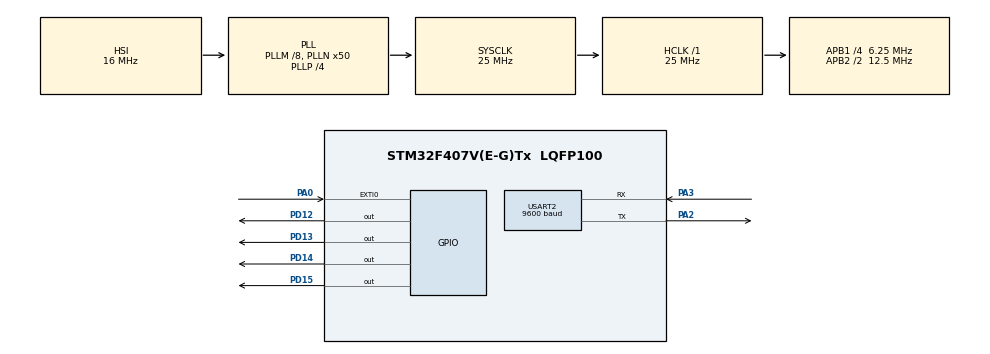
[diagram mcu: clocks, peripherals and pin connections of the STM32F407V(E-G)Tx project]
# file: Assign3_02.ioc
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Mcu.Family=STM32F4
Mcu.Name=STM32F407V(E-G)Tx
Mcu.Package=LQFP100
NVIC.EXTI0_IRQn=true\:0\:0\:false\:false\:true\:true\:true\:true
NVIC.PriorityGroup=NVIC_PRIORITYGROUP_0
PA0-WKUP.Signal=GPXTI0
PA2.Mode=Asynchronous
PA2.Signal=USART2_TX
PA3.Mode=Asynchronous
PA3.Signal=USART2_RX
PD12.Signal=GPIO_Output
PD13.Signal=GPIO_Output
PD14.Signal=GPIO_Output
PD15.Signal=GPIO_Output
ProjectManager.HeapSize=0x200
ProjectManager.StackSize=0x400
ProjectManager.TargetToolchain=STM32CubeIDE
RCC.48MHZClocksFreq_Value=14285714.285714285
RCC.AHBFreq_Value=25000000
RCC.APB1CLKDivider=RCC_HCLK_DIV4
RCC.APB1Freq_Value=6250000
RCC.APB1TimFreq_Value=12500000
RCC.APB2CLKDivider=RCC_HCLK_DIV2
RCC.APB2Freq_Value=12500000
RCC.APB2TimFreq_Value=25000000
RCC.CortexFreq_Value=25000000
RCC.HCLKFreq_Value=25000000
RCC.HSE_VALUE=8000000
RCC.HSI_VALUE=16000000
RCC.LSE_VALUE=32768
RCC.PLLM=8
RCC.PLLN=50
RCC.PLLP=RCC_PLLP_DIV4
RCC.PLLQ=7
RCC.SYSCLKFreq_VALUE=25000000
RCC.SYSCLKSource=RCC_SYSCLKSOURCE_PLLCLK
RCC.VCOOutputFreq_Value=100000000
USART2.BaudRate=9600
USART2.VirtualMode=VM_ASYNC
board=STM32F407G-DISC1

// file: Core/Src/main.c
/* USER CODE BEGIN Header */
/**
  ******************************************************************************
  * @file           : main.c
  * @brief          : Main program body
  ******************************************************************************
  * @attention
  *
  * Copyright (c) 2026 STMicroelectronics.
  * All rights reserved.
  *
  * This software is licensed under terms that can be found in the LICENSE file
  * in the root directory of this software component.
  * If no LICENSE file comes with this software, it is provided AS-IS.
  *
  ******************************************************************************
  */
/* USER CODE END Header */
#include "main.h"

UART_HandleTypeDef huart2;
uint8_t volatile button_pressed =0;
uint8_t led =0;
/* USER CODE BEGIN PV */

void HAL_GPIO_EXTI_Callback(uint16_t GPIO_Pin)
{

        button_pressed = 1;

}
/* USER CODE END PV */

void SystemClock_Config(void);
static void MX_GPIO_Init(void);
static void MX_USART2_UART_Init(void);

int main(void)
{

  /* MCU Configuration--------------------------------------------------------*/

  /* Reset of all peripherals, Initializes the Flash interface and the Systick. */
  HAL_Init();

  /* Configure the system clock */
  SystemClock_Config();

  /* Initialize all configured peripherals */
  MX_GPIO_Init();
  MX_USART2_UART_Init();

  /* Infinite loop */
  /* USER CODE BEGIN WHILE */
  while (1)
  {

	      if(button_pressed)
	      {
	          button_pressed = 0;

	         led++;

	          if(led > 3)
	              led = 0;
	      }

	      HAL_GPIO_WritePin(GPIOD,
	                        GPIO_PIN_12 | GPIO_PIN_13 | GPIO_PIN_14 | GPIO_PIN_15,
	                        GPIO_PIN_RESET);
	      if(led == 0)
	      {
	      HAL_GPIO_WritePin(GPIOD,GPIO_PIN_12,GPIO_PIN_SET);
	      HAL_Delay(500);

	      HAL_GPIO_WritePin(GPIOD, GPIO_PIN_12,GPIO_PIN_RESET);
	      HAL_Delay(500);
	      }
	      else if(led == 1)
	      {   HAL_GPIO_WritePin(GPIOD,GPIO_PIN_13,GPIO_PIN_SET);
	      HAL_Delay(500);

	      HAL_GPIO_WritePin(GPIOD, GPIO_PIN_13,GPIO_PIN_RESET);
	      HAL_Delay(500);

	      }
	      else if(led == 2)
	      {   HAL_GPIO_WritePin(GPIOD,GPIO_PIN_14,GPIO_PIN_SET);
	     HAL_Delay(500);

	 	 HAL_GPIO_WritePin(GPIOD, GPIO_PIN_14,GPIO_PIN_RESET);
	     HAL_Delay(500);

	    	      }
	      else if(led == 3)
	     {	HAL_GPIO_WritePin(GPIOD,GPIO_PIN_15,GPIO_PIN_SET);
	     HAL_Delay(500);

	     HAL_GPIO_WritePin(GPIOD, GPIO_PIN_15,GPIO_PIN_RESET);
	     HAL_Delay(500);

	    	      }

    /* USER CODE END WHILE */

  }
}

void SystemClock_Config(void)
{
  RCC_OscInitTypeDef RCC_OscInitStruct = {0};
  RCC_ClkInitTypeDef RCC_ClkInitStruct = {0};

  /** Configure the main internal regulator output voltage
  */
  __HAL_RCC_PWR_CLK_ENABLE();
  __HAL_PWR_VOLTAGESCALING_CONFIG(PWR_REGULATOR_VOLTAGE_SCALE1);

  /** Initializes the RCC Oscillators according to the specified parameters
  * in the RCC_OscInitTypeDef structure.
  */
  RCC_OscInitStruct.OscillatorType = RCC_OSCILLATORTYPE_HSI;
  RCC_OscInitStruct.HSIState = RCC_HSI_ON;
  RCC_OscInitStruct.HSICalibrationValue = RCC_HSICALIBRATION_DEFAULT;
  RCC_OscInitStruct.PLL.PLLState = RCC_PLL_ON;
  RCC_OscInitStruct.PLL.PLLSource = RCC_PLLSOURCE_HSI;
  RCC_OscInitStruct.PLL.PLLM = 8;
  RCC_OscInitStruct.PLL.PLLN = 50;
  RCC_OscInitStruct.PLL.PLLP = RCC_PLLP_DIV4;
  RCC_OscInitStruct.PLL.PLLQ = 7;
  if (HAL_RCC_OscConfig(&RCC_OscInitStruct) != HAL_OK)
  {
    Error_Handler();
  }

  /** Initializes the CPU, AHB and APB buses clocks
  */
  RCC_ClkInitStruct.ClockType = RCC_CLOCKTYPE_HCLK|RCC_CLOCKTYPE_SYSCLK
                              |RCC_CLOCKTYPE_PCLK1|RCC_CLOCKTYPE_PCLK2;
  RCC_ClkInitStruct.SYSCLKSource = RCC_SYSCLKSOURCE_PLLCLK;
  RCC_ClkInitStruct.AHBCLKDivider = RCC_SYSCLK_DIV1;
  RCC_ClkInitStruct.APB1CLKDivider = RCC_HCLK_DIV4;
  RCC_ClkInitStruct.APB2CLKDivider = RCC_HCLK_DIV2;

  if (HAL_RCC_ClockConfig(&RCC_ClkInitStruct, FLASH_LATENCY_0) != HAL_OK)
  {
    Error_Handler();
  }
}

static void MX_USART2_UART_Init(void)
{

  huart2.Instance = USART2;
  huart2.Init.BaudRate = 9600;
  huart2.Init.WordLength = UART_WORDLENGTH_8B;
  huart2.Init.StopBits = UART_STOPBITS_1;
  huart2.Init.Parity = UART_PARITY_NONE;
  huart2.Init.Mode = UART_MODE_TX_RX;
  huart2.Init.HwFlowCtl = UART_HWCONTROL_NONE;
  huart2.Init.OverSampling = UART_OVERSAMPLING_16;
  if (HAL_UART_Init(&huart2) != HAL_OK)
  {
    Error_Handler();
  }

}

static void MX_GPIO_Init(void)
{
  GPIO_InitTypeDef GPIO_InitStruct = {0};

  /* GPIO Ports Clock Enable */
  __HAL_RCC_GPIOA_CLK_ENABLE();
  __HAL_RCC_GPIOD_CLK_ENABLE();

  /*Configure GPIO pin Output Level */
  HAL_GPIO_WritePin(GPIOD, GPIO_PIN_12|GPIO_PIN_13|GPIO_PIN_14|GPIO_PIN_15, GPIO_PIN_RESET);

  /*Configure GPIO pin : PA0 */
  GPIO_InitStruct.Pin = GPIO_PIN_0;
  GPIO_InitStruct.Mode = GPIO_MODE_IT_RISING;
  GPIO_InitStruct.Pull = GPIO_NOPULL;
  HAL_GPIO_Init(GPIOA, &GPIO_InitStruct);

  /*Configure GPIO pins : PD12 PD13 PD14 PD15 */
  GPIO_InitStruct.Pin = GPIO_PIN_12|GPIO_PIN_13|GPIO_PIN_14|GPIO_PIN_15;
  GPIO_InitStruct.Mode = GPIO_MODE_OUTPUT_PP;
  GPIO_InitStruct.Pull = GPIO_NOPULL;
  GPIO_InitStruct.Speed = GPIO_SPEED_FREQ_LOW;
  HAL_GPIO_Init(GPIOD, &GPIO_InitStruct);

  /* EXTI interrupt init*/
  HAL_NVIC_SetPriority(EXTI0_IRQn, 0, 0);
  HAL_NVIC_EnableIRQ(EXTI0_IRQn);

}

void Error_Handler(void)
{
  __disable_irq();
  while (1)
  {
  }
}
